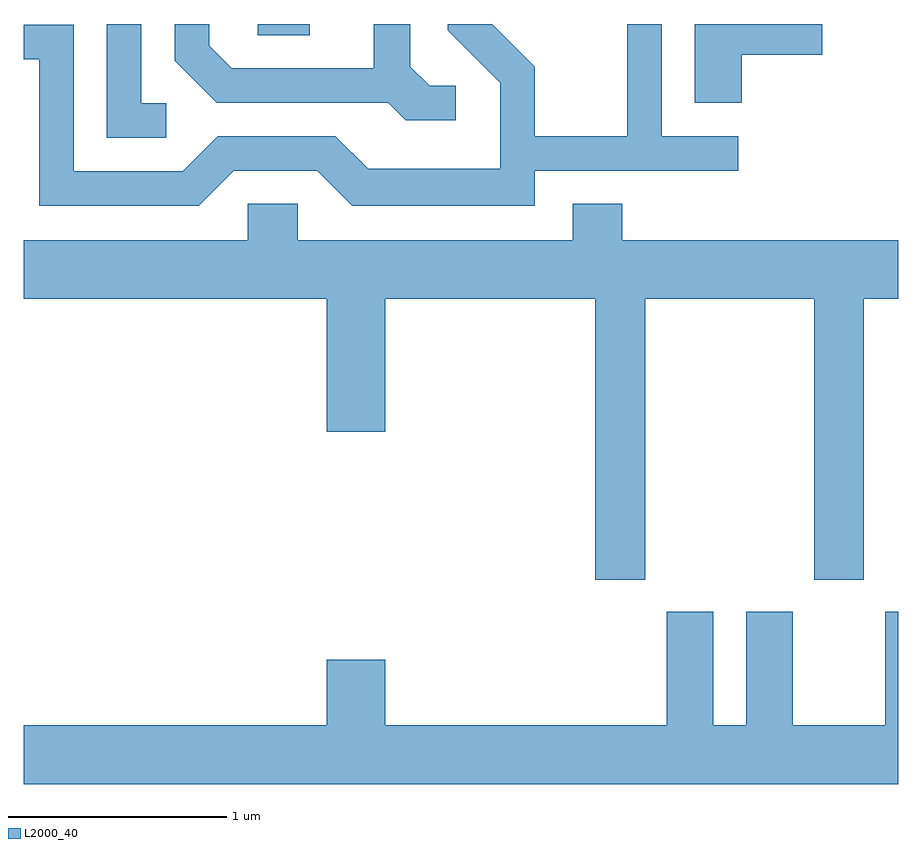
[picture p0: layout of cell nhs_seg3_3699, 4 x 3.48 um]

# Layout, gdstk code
import gdstk
lib = gdstk.Library(unit=1e-6, precision=1e-09)
def R(c, l, rs):  # rectangles x0, y0, x1, y1
    for r in rs: c.add(gdstk.rectangle(r[:2], r[2:], *l))
def P(c, l, *ps):  # polygons
    for p in ps: c.add(gdstk.Polygon(p, *l))
L2000_40 = (2000, 40)

nhs_seg3_3699 = lib.new_cell('nhs_seg3_3699')
R(nhs_seg3_3699, L2000_40, [(294.681,1173.841,294.919,1173.892)])
P(nhs_seg3_3699, L2000_40, [(294.572,1173.221),(294.954,1173.221),(295.114,1173.061),(295.949,1173.061),(295.949,1173.221),(296.878,1173.221),(296.878,1173.379),(296.529,1173.379),(296.529,1173.892),(296.371,1173.892),(296.371,1173.379),(295.949,1173.379),(295.949,1173.697),(295.754,1173.892),(295.551,1173.892),(295.551,1173.864),(295.791,1173.624),(295.791,1173.229),(295.187,1173.229),(295.037,1173.379),(294.499,1173.379),(294.339,1173.219),(293.839,1173.219),(293.839,1173.889),(293.611,1173.889),(293.611,1173.731),(293.681,1173.731),(293.681,1173.061),(294.412,1173.061)],
  [(296.894,1173.751),(297.264,1173.751),(297.264,1173.892),(296.681,1173.892),(296.681,1173.531),(296.894,1173.531)],
  [(295.588,1173.609),(295.467,1173.609),(295.379,1173.697),(295.379,1173.892),(295.211,1173.892),(295.211,1173.689),(294.562,1173.689),(294.459,1173.792),(294.459,1173.892),(294.301,1173.892),(294.301,1173.724),(294.494,1173.531),(295.279,1173.531),(295.359,1173.451),(295.588,1173.451)],
  [(294.263,1173.529),(294.149,1173.529),(294.149,1173.892),(293.991,1173.892),(293.991,1173.371),(294.263,1173.371)],
  [(296.454,1172.636),(297.226,1172.636),(297.226,1171.351),(297.454,1171.351),(297.454,1172.636),(297.611,1172.636),(297.611,1172.904),(296.349,1172.904),(296.349,1173.069),(296.121,1173.069),(296.121,1172.904),(294.864,1172.904),(294.864,1173.069),(294.636,1173.069),(294.636,1172.904),(293.611,1172.904),(293.611,1172.636),(294.996,1172.636),(294.996,1172.026),(295.264,1172.026),(295.264,1172.636),(296.226,1172.636),(296.226,1171.351),(296.454,1171.351)],
  [(297.611,1171.204),(297.551,1171.204),(297.551,1170.684),(297.129,1170.684),(297.129,1171.204),(296.916,1171.204),(296.916,1170.684),(296.764,1170.684),(296.764,1171.204),(296.551,1171.204),(296.551,1170.684),(295.264,1170.684),(295.264,1170.984),(294.996,1170.984),(294.996,1170.684),(293.611,1170.684),(293.611,1170.416),(297.611,1170.416)])

lib.write_gds('nhs_seg3_3699.gds')
